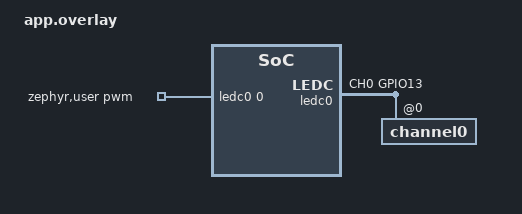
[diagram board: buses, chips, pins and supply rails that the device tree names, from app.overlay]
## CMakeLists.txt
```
cmake_minimum_required(VERSION 3.20.0)

find_package(Zephyr REQUIRED HINTS $ENV{ZEPHYR_BASE})
project(servo_control)

target_sources(app PRIVATE src/main.c)
```

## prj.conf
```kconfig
CONFIG_GPIO=y
CONFIG_PWM=y
CONFIG_LOG=y
CONFIG_PRINTK=y
```

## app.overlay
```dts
/ {
	zephyr,user {
		pwms = <&ledc0 0 PWM_MSEC(20) PWM_POLARITY_NORMAL>;
	};
};

&pinctrl {
	ledc_timer0_default: ledc_timer0_default {
		group1 {
			pinmux = <LEDC_CH0_GPIO13>;
			output-enable;
		};
	};
};

&ledc0 {
	pinctrl-0 = <&ledc_timer0_default>;
	pinctrl-names = "default";
	status = "okay";

	#address-cells = <1>;
	#size-cells = <0>;

	channel0@0 {
		reg = <0x0>;
		timer = <0>;
	};
};
```

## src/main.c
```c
#include <zephyr/kernel.h>
#include <zephyr/device.h>
#include <zephyr/drivers/pwm.h>
#include <zephyr/sys/printk.h>

/* Standard hobby servo pulse widths (nanoseconds) */
#define SERVO_MIN_PULSE_NS  1000000   /* 1.0 ms -> 0 degrees   */
#define SERVO_MAX_PULSE_NS  2000000   /* 2.0 ms -> 180 degrees */
#define SERVO_MID_PULSE_NS  1500000   /* 1.5 ms -> 90 degrees  */

static const struct pwm_dt_spec servo = PWM_DT_SPEC_GET(DT_PATH(zephyr_user));

static int set_angle(const struct pwm_dt_spec *pwm, int angle_deg)
{
	if (angle_deg < 0)   angle_deg = 0;
	if (angle_deg > 180) angle_deg = 180;

	uint32_t pulse_ns = SERVO_MIN_PULSE_NS +
		((SERVO_MAX_PULSE_NS - SERVO_MIN_PULSE_NS) * angle_deg) / 180;

	return pwm_set_pulse_dt(pwm, pulse_ns);
}

int main(void)
{
	if (!pwm_is_ready_dt(&servo)) {
		printk("Error: PWM device is not ready\n");
		return 0;
	}

	printk("Servo sweep starting...\n");

	while (1) {
		printk("Moving to 0 degrees\n");
		set_angle(&servo, 0);
		k_sleep(K_SECONDS(1));

		printk("Moving to 90 degrees\n");
		set_angle(&servo, 90);
		k_sleep(K_SECONDS(1));

		printk("Moving to 180 degrees\n");
		set_angle(&servo, 180);
		k_sleep(K_SECONDS(1));
	}

	return 0;
}
```
